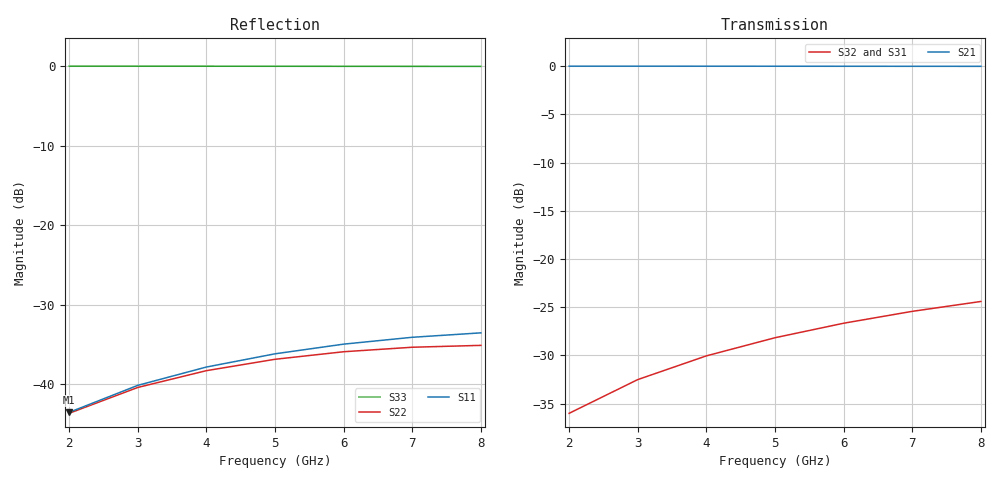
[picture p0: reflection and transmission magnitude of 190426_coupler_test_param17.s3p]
! Sonnet Data File
! From: emgraph Version : 16.56
! From Project: 190426_coupler_test
! Data is De-embedded
! Data File Written: 05/06/2019 15:59:44
!< HDATE 04/25/2019 10:48:44
!< MDATE 04/25/2019 10:59:35
!< PARAMS
!< tandelta = 0.0
!< t_aSi = 0.25
!< W = 10.0
!< Lcoupler = 1600.0
!< END PARAMS
# GHZ S MA R 50.0 !  non standard terminations in data
! TERM 50.00000 0.000000 50.00000 0.000000 63.84000 0.000000
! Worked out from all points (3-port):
!   7 points, 2 GHz to 8 GHz, reference 50 ohm
!   strongest paths, dB at 2 GHz, 3 GHz, 5 GHz, 7 GHz, 8 GHz:
!     S21: 0.0, 0.0, 0.0, 0.0, 0.0
!     S32: -36.0, -32.5, -28.2, -25.4, -24.4
!     S31: -36.0, -32.6, -28.3, -25.6, -24.6
!   lowest |S11| = -43.5 dB at 2 GHz (marker M1), VSWR 1.01, Z = 50.3 + j0.618 ohm
!   |S11| at or under -10 dB: start of sweep to end of sweep
2  0.006673 67.1  0.9999 -21.7  0.01579 55.8
   0.9999 -21.7  0.006582 71.5  0.01582 79.4
   0.01579 55.8  0.01582 79.4  0.9998 -23.5
3  0.009862 55.3  0.9997 -32.5  0.02355 38.7
   0.9997 -32.5  0.009568 62.4  0.02367 74.1
   0.02355 38.7  0.02367 74.1  0.9994 -35.2
4  0.01286 43.3  0.9994 -43.4  0.03116 21.5
   0.9994 -43.4  0.0122 53.3  0.03143 68.6
   0.03116 21.5  0.03143 68.6  0.999 -47.0
5  0.01557 30.8  0.9991 -54.2  0.03857 4.4
   0.9991 -54.2  0.01438 44.4  0.03903 63.1
   0.03857 4.4  0.03903 63.1  0.9985 -58.8
6  0.01791 17.8  0.9988 -65.0  0.04572 -12.7
   0.9988 -65.0  0.01604 35.6  0.04641 57.6
   0.04572 -12.7  0.04641 57.6  0.9979 -70.6
7  0.01978 4.2  0.9984 -75.9  0.05256 -29.9
   0.9984 -75.9  0.01712 27.0  0.05348 51.9
   0.05256 -29.9  0.05348 51.9  0.9972 -82.4
8  0.02109 -10.1  0.998 -86.7  0.05905 -47.0
   0.998 -86.7  0.01759 18.8  0.06018 46.2
   0.05905 -47.0  0.06018 46.2  0.9964 -94.3
